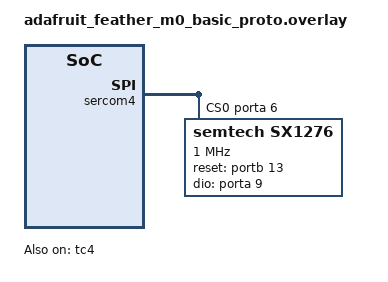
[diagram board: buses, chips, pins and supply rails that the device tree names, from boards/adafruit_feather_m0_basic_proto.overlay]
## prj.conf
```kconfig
CONFIG_LOG=y
CONFIG_SPI=y
CONFIG_GPIO=y
CONFIG_LORA=y
CONFIG_LORA_SX1276=y
CONFIG_LORAWAN=y
CONFIG_PRINTK=y
CONFIG_COUNTER=y
CONFIG_NEWLIB_LIBC=y
```

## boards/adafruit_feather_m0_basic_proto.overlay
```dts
/*
 * This overlay suits Adafrut Feather M0 LoRa edition with a RF95x chip connected over SPI
 * 
 * Copyritght 2020: R3-IoT Ltd.
 */


&tc4 {
	status = "okay";
	#lora-rtc-cells = <0>;
};

&sercom4 {
	status = "okay";
	compatible = "atmel,sam0-spi";

	cs-gpios = <&porta 6 0>;

	dipo = <0>;
	dopo = <1>;

	sx1276@0 {
		compatible = "semtech,sx1276";
		reg = <0>;
		label = "sx1276";
		reset-gpios = <&portb 13 0>;
		dio-gpios = <&porta 9 0>;

		lora-rtcs = <&tc4>;
		spi-max-frequency = <1000000>;
	};
};
```

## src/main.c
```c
/*
 * Copyright (c) 2019 Manivannan Sadhasivam
 *
 * SPDX-License-Identifier: Apache-2.0
 */

#include <device.h>
#include <errno.h>
#include <lorawan.h>
#include <sys/util.h>
#include <zephyr.h>

#define LORAWAN_DEV_EUI			{ 0xDD, 0xEE, 0xAA, 0xDD, 0xBB, 0xEE,\
					  0xEE, 0xFF }
#define LORAWAN_JOIN_EUI		{ 0x70, 0xB3, 0xD5, 0x7E, 0xD0, 0x02,\
					  0x4E, 0x50 }
#define LORAWAN_APP_EUI			{ 0x70, 0xB3, 0xD5, 0x7E, 0xD0, 0x02,\
					  0x4E, 0x50 }
#define LORAWAN_APP_KEY         	{ 0xB3, 0x58, 0xA9, 0xB5, 0x7E, 0xBB,\
					  0x34, 0x3F, 0x2B, 0x72, 0x10, 0x11,\
					  0xAF, 0x1C, 0x50, 0x41 }
#define LORAWAN_DEFAULT_DATARATE	LORAWAN_DR_0

#define MAX_DATA_LEN 10

#define LOG_LEVEL CONFIG_LOG_DEFAULT_LEVEL
#include <logging/log.h>
LOG_MODULE_REGISTER(lora_receive);

char data[MAX_DATA_LEN] = {'h', 'e', 'l', 'l', 'o', 'w', 'o', 'r', 'l', 'd'};

void main(void)
{
	struct device *lora_dev;
	struct lorawan_mib_config mib_config;
	int ret;
	u8_t dev_eui[] = LORAWAN_DEV_EUI;
	u8_t join_eui[] = LORAWAN_JOIN_EUI;
	u8_t app_eui[] = LORAWAN_APP_EUI;
	u8_t app_key[] = LORAWAN_APP_KEY;

	lora_dev = device_get_binding(DT_INST_0_SEMTECH_SX1276_LABEL);
	if (!lora_dev) {
		LOG_ERR("%s Device not found", DT_INST_0_SEMTECH_SX1276_LABEL);
		return;
	}

	mib_config.lw_class = LORAWAN_CLASS_A;
	mib_config.dev_eui = dev_eui;
	mib_config.join_eui = join_eui;
	mib_config.app_eui = app_eui;
	mib_config.app_key = app_key;
	mib_config.nwk_key = app_key;
	mib_config.rx2_datarate = LORAWAN_DEFAULT_DATARATE;
	mib_config.rx2_freq = 865100000;
	mib_config.adr_enable = true;

	LOG_INF("Configuring MIB");
	ret = lorawan_config(&mib_config);
	if (ret < 0)
		return;

	LOG_INF("Joining network over OTAA");
	ret = lorawan_join_network(LORAWAN_DEFAULT_DATARATE, LORAWAN_ACT_OTAA);
	if (ret < 0)
		return;
	
	ret = lorawan_send(2, LORAWAN_DEFAULT_DATARATE, data, MAX_DATA_LEN,
			   true, 5);
	if (ret < 0)
		return;

	LOG_INF("Data sent!");
}
```
